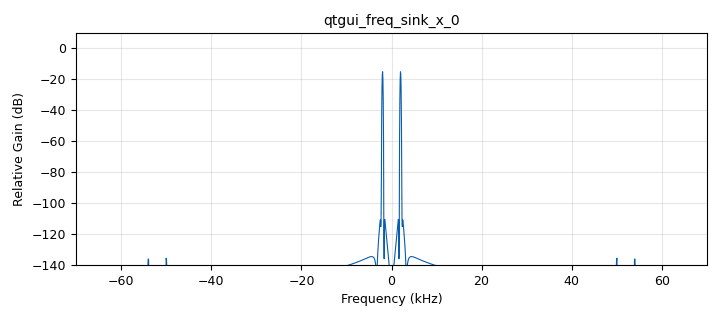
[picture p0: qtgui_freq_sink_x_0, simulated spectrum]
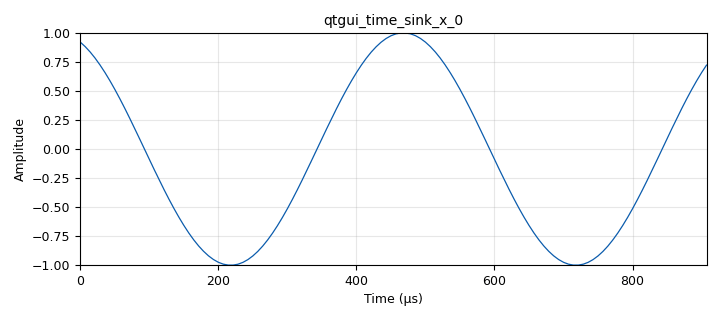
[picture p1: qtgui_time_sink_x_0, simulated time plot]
options:
  parameters:
    author: Sebastian Pabon & Edson Rey
    copyright: UIS
    generate_options: qt_gui
    id: SampleRate
    output_language: python
    title: Sample Rate
  states: {}

blocks:
- name: freq
  id: variable_qtgui_range
  parameters:
    label: Frecuency
    start: 1e3
    step: 1e3
    stop: 40e3
    value: 2e3
  states: {}
- name: samp_rate
  id: variable
  parameters:
    value: '140000'
  states: {}
- name: analog_sig_source_x_0
  id: analog_sig_source_x
  parameters:
    amp: '1'
    freq: freq
    offset: '0'
    phase: '0'
    samp_rate: samp_rate
    type: float
    waveform: analog.GR_SIN_WAVE
  states: {}
- name: blocks_throttle_1
  id: blocks_throttle
  parameters:
    samples_per_second: samp_rate
    type: float
  states: {}
- name: qtgui_freq_sink_x_0
  id: qtgui_freq_sink_x
  parameters:
    bw: samp_rate
    fc: '0'
    fftsize: '2048'
    type: float
  states: {}
- name: qtgui_time_sink_x_0
  id: qtgui_time_sink_x
  parameters:
    size: '128'
    srate: samp_rate
    type: float
  states: {}

connections:
- [analog_sig_source_x_0, '0', blocks_throttle_1, '0']
- [blocks_throttle_1, '0', qtgui_freq_sink_x_0, '0']
- [blocks_throttle_1, '0', qtgui_time_sink_x_0, '0']

metadata:
  file_format: 1
